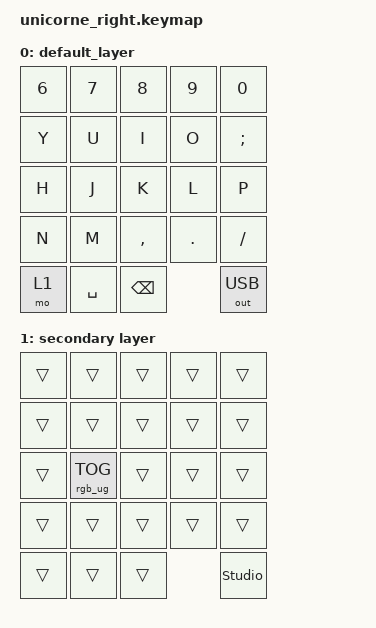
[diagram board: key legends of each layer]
#include <behaviors.dtsi>
#include <dt-bindings/zmk/keys.h>
#include <dt-bindings/zmk/rgb.h>
#include <dt-bindings/zmk/outputs.h>

/ {
    keymap {
        compatible = "zmk,keymap";
        label = "Default";
        physical-layout = <&physical_layout0>;

        default_layer { // Layer 0
            bindings = <
                &kp N6 &kp N7    &kp N8         &kp N9   &kp N0
                &kp Y  &kp U     &kp I          &kp O    &kp SEMI
                &kp H  &kp J     &kp K          &kp L    &kp P
                &kp N  &kp M     &kp COMMA      &kp DOT  &kp SLASH
                &mo 1  &kp SPACE &kp BACKSPACE  &out OUT_USB
            >;
        };

        second_layer {
            display-name = "secondary layer";
            bindings = <&trans &trans &trans &trans &trans
                        &trans &trans &trans &trans &trans
                        &trans &rgb_ug RGB_TOG &trans &trans &trans
                        &trans &trans &trans &trans &trans
                        &trans &trans &trans &studio_unlock
            >;
        };
    };
 };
